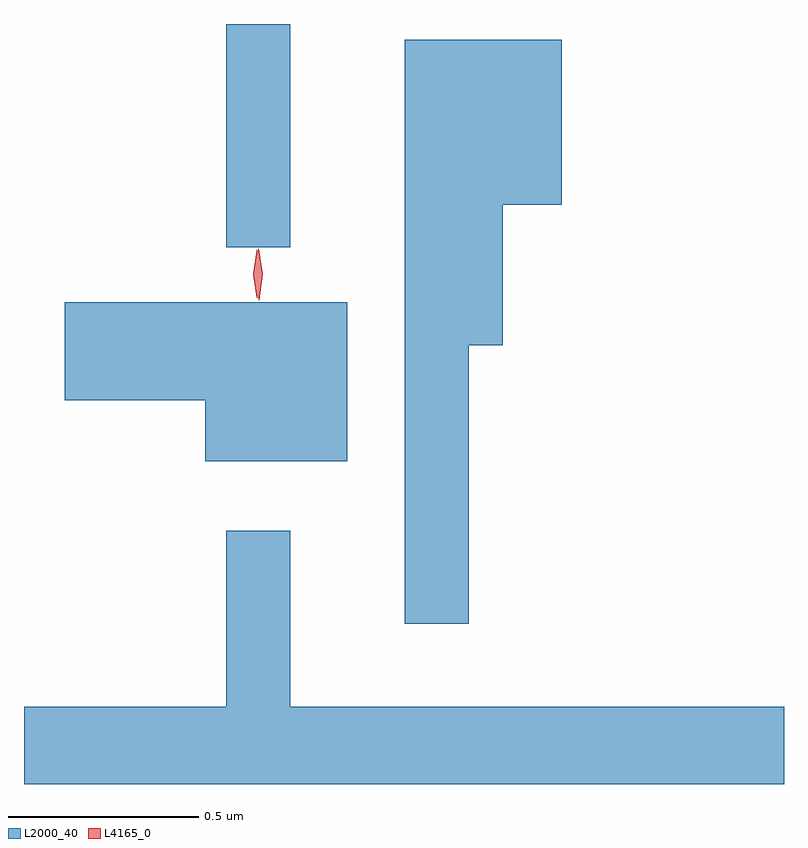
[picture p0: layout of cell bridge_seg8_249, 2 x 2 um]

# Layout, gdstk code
import gdstk
lib = gdstk.Library(unit=1e-6, precision=1e-09)
def R(c, l, rs):  # rectangles x0, y0, x1, y1
    for r in rs: c.add(gdstk.rectangle(r[:2], r[2:], *l))
def P(c, l, *ps):  # polygons
    for p in ps: c.add(gdstk.Polygon(p, *l))
L2000_40 = (2000, 40)
L4165_0 = (4165, 0)

bridge_seg8_249 = lib.new_cell('bridge_seg8_249')
R(bridge_seg8_249, L2000_40, [(1118.891,1855.653,1119.059,1856.241)])
P(bridge_seg8_249, L2000_40, [(1119.529,1855.396),(1119.619,1855.396),(1119.619,1855.766),(1119.774,1855.766),(1119.774,1856.199),(1119.361,1856.199),(1119.361,1854.663),(1119.529,1854.663)],
  [(1119.209,1855.509),(1118.466,1855.509),(1118.466,1855.251),(1118.836,1855.251),(1118.836,1855.091),(1119.209,1855.091)],
  [(1120.359,1854.444),(1119.059,1854.444),(1119.059,1854.908),(1118.891,1854.908),(1118.891,1854.444),(1118.359,1854.444),(1118.359,1854.241),(1120.359,1854.241)])
P(bridge_seg8_249, L4165_0, [(1118.977,1855.514),(1118.967,1855.582),(1118.976,1855.65),(1118.977,1855.65),(1118.977,1855.65),(1118.987,1855.582),(1118.978,1855.514),(1118.978,1855.514)],
  [(1118.972,1855.52),(1118.972,1855.52),(1118.962,1855.583),(1118.972,1855.646),(1118.972,1855.647),(1118.973,1855.646),(1118.982,1855.583),(1118.973,1855.52)])

lib.write_gds('bridge_seg8_249.gds')
